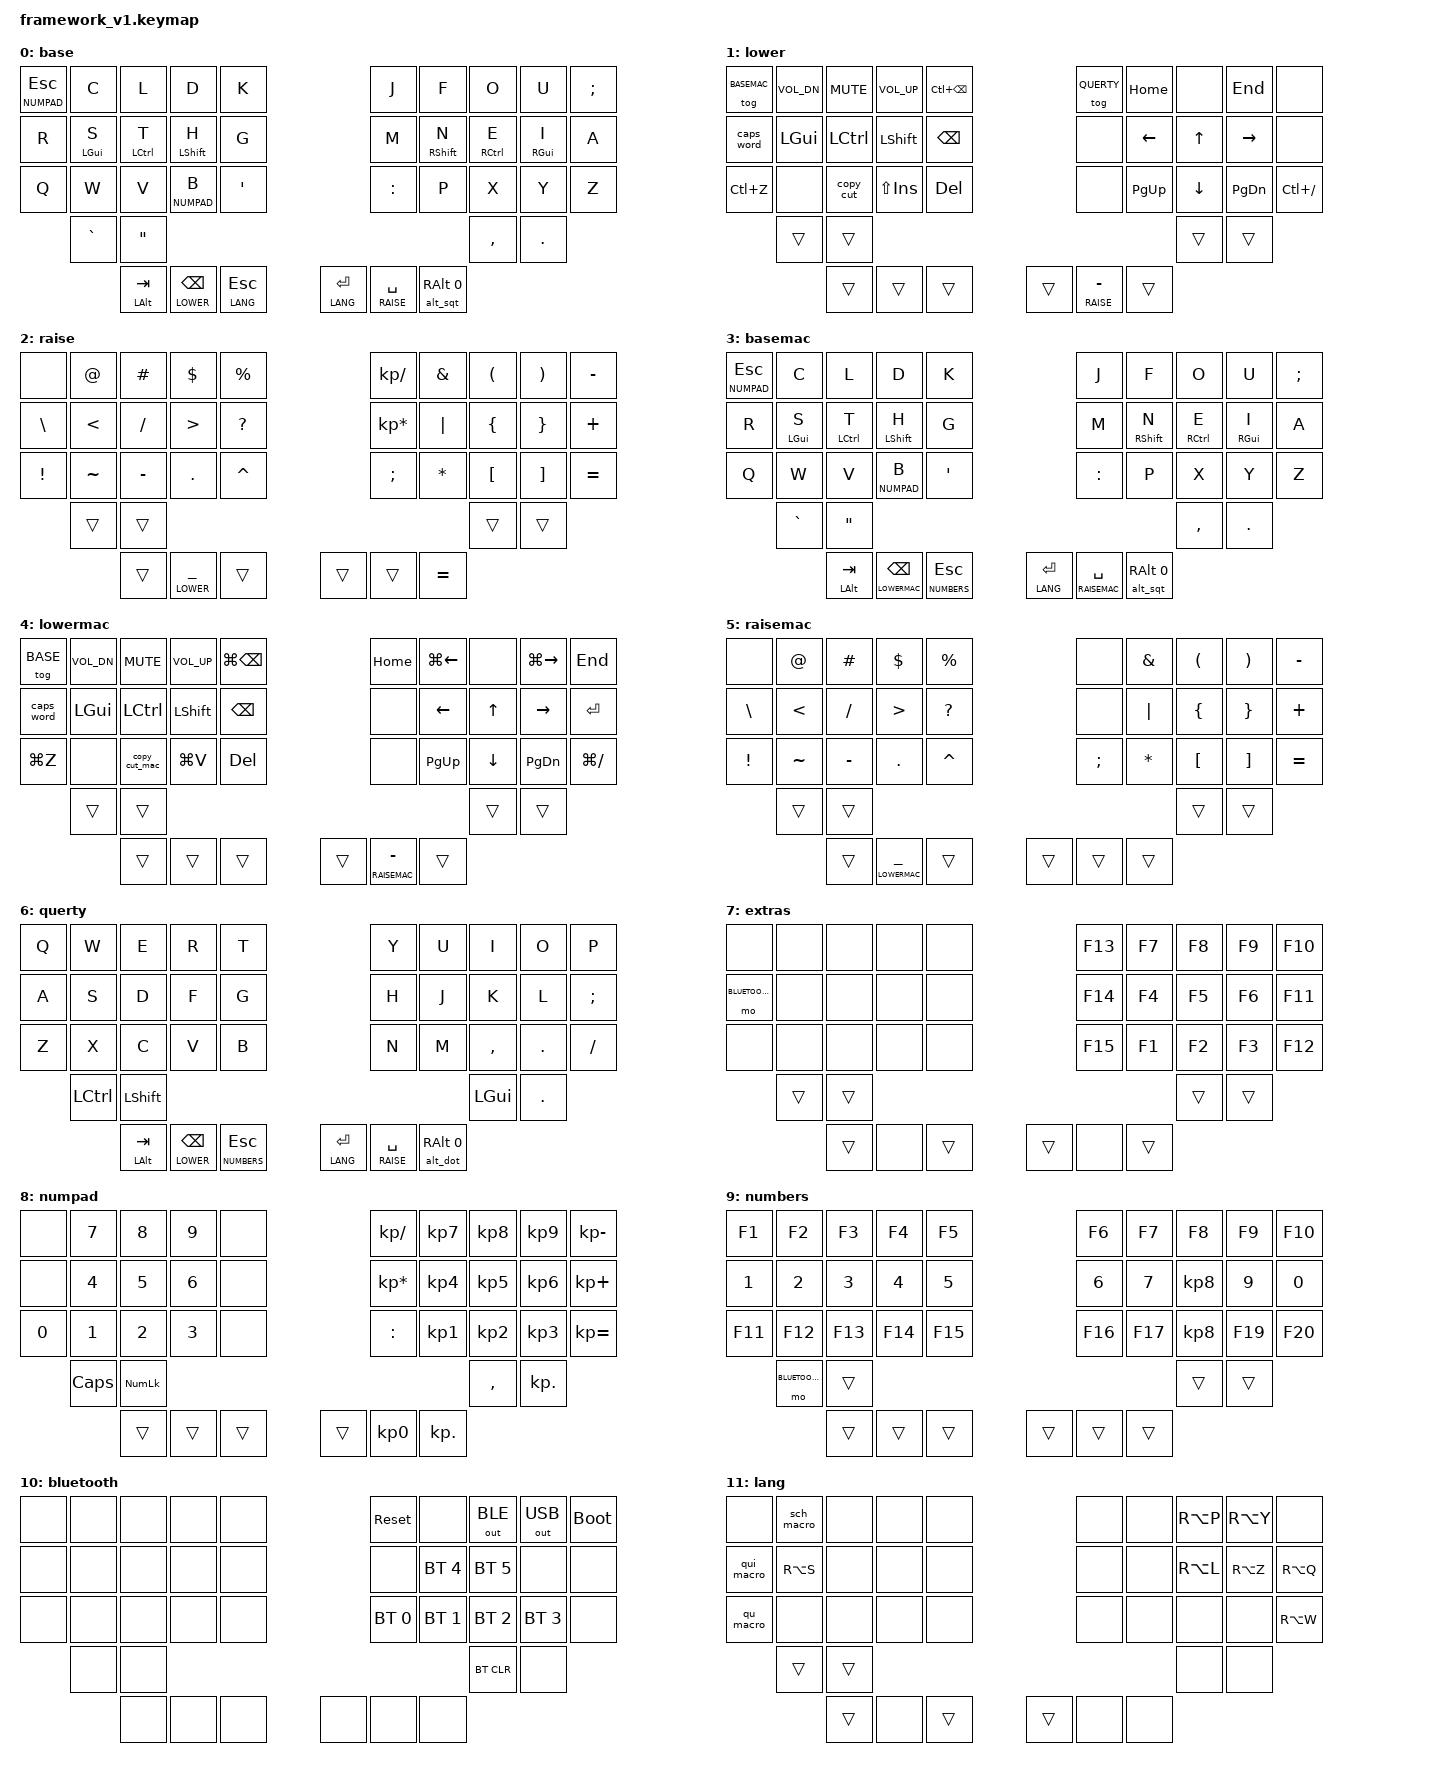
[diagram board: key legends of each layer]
/*
 * Copyright (c) 2021 The ZMK Contributors
 *
 * SPDX-License-Identifier: MIT
 */


#include <behaviors.dtsi>
#include <dt-bindings/zmk/keys.h>
#include <dt-bindings/zmk/bt.h>
#include <dt-bindings/zmk/outputs.h>
#include "zmk-helpers/helper.h"
#include "framework_v1.overlay"
#include "framework_v1_keypos.h"


#define BASE      0
#define LOWER     1
#define RAISE     2

#define BASEMAC   3
#define LOWERMAC  4
#define RAISEMAC  5

#define QUERTY    6
#define EXTRAS    7
#define NUMPAD    8
#define NUMBERS   9
#define BLUETOOTH 10
#define LANG      11

// left-hand keys
#define KEYS_L LN4 LN3 LN2 LN1 LN0 LT4 LT3 LT2 LT1 LT0 LM4 LM3 LM2 LM1 LM0 LB1 LB0
// right-hand keys
#define KEYS_R RN0 RN1 RN2 RN3 RN4 RT0 RT1 RT2 RT3 RT4 RM0 RM1 RM2 RM3 RM4 RB0 RB1
// left-hand thumb keys
#define THUMBS_L LH0 LH1 LH2
// right-hand thumb keys
#define THUMBS_R RH0 RH1 RH2

/ {
    conditional_layers {
        compatible = "zmk,conditional-layers";
        tri_layer {
            if-layers = <LOWER RAISE>;
            then-layer = <NUMBERS>;
        };
        tri_layer_mac {
            if-layers = <LOWERMAC RAISEMAC>;
            then-layer = <NUMBERS>;
        };
    };
};


#define XXX &none
#define ___ &trans




// --------------------------------------------
// ------------------ COMBOS ------------------
// --------------------------------------------
#undef COMBO_TERM
#define COMBO_TERM 15
// ZMK_COMBO(comboLPar, &kp LPAR, LN3 LN2, BASE BASEMAC)
// ZMK_COMBO(comboRPar, &kp RPAR, RN2 RN3, BASE BASEMAC)

// ZMK_COMBO(comboLBrc, &kp LBRC, LT3 LT2, BASE BASEMAC)
// ZMK_COMBO(comboRBrc, &kp RBRC, RT2 RT3, BASE BASEMAC)

// ZMK_COMBO(comboLBkt, &kp LBKT, LM3 LM2, BASE BASEMAC)
// ZMK_COMBO(comboRBkt, &kp RBKT, RM2 RM3, BASE BASEMAC)

// ZMK_COMBO(comboMinus, &kp MINUS, RN1 RN2, BASE BASEMAC)
// ZMK_COMBO(comboPlus, &kp PLUS, RT1 RT2, BASE BASEMAC)
// ZMK_COMBO(comboEqual, &kp EQUAL, RM1 RM2, BASE BASEMAC)

// ZMK_COMBO(comboUnderscore, &kp UNDERSCORE, LN2 LN1, BASE BASEMAC)
// ZMK_COMBO(comboExcl, &kp EXCL, LM2 LM1, BASE BASEMAC)
// ZMK_COMBO(comboAt, &kp AT, LT2 LT1, BASE BASEMAC)

// ZMK_COMBO(comboTab, &kp TAB, RB0 RB1, BASE BASEMAC)

// ZMK_COMBO(comboNumpad, &lt NUMPAD ESC, LB0 LB1, BASE BASEMAC)

// --------------------------------------------
// ------------------- HMR --------------------
// --------------------------------------------
#define MAKE_HRM(NAME, HOLD, TAP, TRIGGER_POS) \
    ZMK_BEHAVIOR(NAME, hold_tap, \
        flavor = "balanced"; \
        tapping-term-ms = <280>; \
        quick-tap-ms = <150>; \
        bindings = <HOLD>, <TAP>; \
        hold-trigger-key-positions = <TRIGGER_POS>; \
        hold-trigger-on-release; \
        hold-while-undecided; \
    )

// left-hand HRMs
MAKE_HRM(hml, &kp, &kp, THUMBS_L THUMBS_R KEYS_R)
// right-hand HRMs
MAKE_HRM(hmr, &kp, &kp, THUMBS_L THUMBS_R KEYS_L)


// --------------------------------------------
// ----------------- TOGGLES ------------------
// --------------------------------------------
&lt {
  tapping-term-ms = <280>;
  quick-tap-ms = <280>; // repeat on tap-into-hold
  flavor = "balanced";
};
  
&mt {
  tapping-term-ms = <280>;
  quick-tap-ms = <280>; // repeat on tap-into-hold
  flavor = "balanced";
};

// --------------------------------------------
// --------------- BEHAVIOURS -----------------
// --------------------------------------------

ZMK_BEHAVIOR(alt_dot, hold_tap,
  flavor = "balanced";
  tapping-term-ms = <200>;
  bindings = <&kp>, <&alt_morph>;
  hold-while-undecided;
)
ZMK_BEHAVIOR(alt_morph, mod_morph,
  bindings = <&kp DOT>, <&kp COMMA>;
  mods = <(MOD_LSFT|MOD_RSFT)>;
)
// ----------------------------
ZMK_BEHAVIOR(alt_sqt, hold_tap,
  flavor = "balanced";
  tapping-term-ms = <200>;
  bindings = <&kp>, <&alt_morph_sqt>;
)

ZMK_BEHAVIOR(alt_morph_sqt, mod_morph,
  bindings = <&kp SQT>, <&kp COMMA>;
  mods = <(MOD_LSFT|MOD_RSFT)>;
)

ZMK_BEHAVIOR(copy_cut, tap_dance,
  tapping-term-ms = <200>;
  bindings = <&kp LC(INS)>, <&kp LC(X)>;
)

ZMK_BEHAVIOR(copy_cut_mac, tap_dance,
  tapping-term-ms = <200>;
  bindings = <&kp LG(C)>, <&kp LG(X)>;
)


// --------------------------------------------
// ----------------- MACROS -------------------
// --------------------------------------------
ZMK_BEHAVIOR(qu_macro, macro,
  wait-ms = <0>;
  tap-ms = <5>;
  bindings = <&kp Q>, <&kp U>;
)
ZMK_BEHAVIOR(qui_macro, macro,
  wait-ms = <0>;
  tap-ms = <5>;
  bindings = <&kp Q>, <&kp U>, <&kp I>;
)
ZMK_BEHAVIOR(sch_macro, macro,
  wait-ms = <0>;
  tap-ms = <5>;
  bindings = <&kp S>, <&kp C>, <&kp H>;
)

// -------------------------------------------------------------------
// Linux
// -------------------------------------------------------------------
// / {
//   keymap {
//       compatible = "zmk,keymap";

//       base_layer {
//           bindings = <  
//           &kp TILDE &kp C     &kp L     &kp D     &kp K                     &kp J     &kp F     &kp O     &kp U     &kp SEMI
//           &kp R     &kp S     &kp T     &kp H     &kp G                     &kp M     &kp N     &kp E     &kp I     &kp A
//           &kp Q     &kp W     &kp V     &kp B     &kp SQT                   &kp COLON &kp P     &kp X     &kp Y     &kp Z
//                     &kp GRAVE &kp DQT                                                           &kp COMMA &kp DOT   
//                               &mt LALT TAB &kp HASH  &kp DOLLAR          &kp LT     &kp SLASH     &kp GT
  
                               
//           >;
//       };
//   };
// };

// This one is the one that counts

ZMK_LAYER(base,
  &lt NUMPAD ESC &kp C           &kp L           &kp D         &kp K                                             &kp J            &kp F         &kp O         &kp U         &kp SEMI
  &kp R          &hml LGUI S     &hml LCTRL T    &hml LSHIFT H &kp G                                             &kp M            &hmr RSHIFT N &hmr RCTRL E  &hmr RGUI I   &kp A
  &kp Q          &kp W           &kp V           &lt NUMPAD B  &kp SQT                                           &kp COLON        &kp P         &kp X         &kp Y         &kp Z
                 &kp GRAVE       &kp DQT                                                                                                        &kp COMMA     &kp DOT
                                 &mt LALT TAB    &lt LOWER BSPC  &lt LANG ESC              &lt LANG RET   &lt RAISE SPC     &alt_sqt RALT 0
)


// wv and cl switch
// ZMK_LAYER(base,
//   &lt NUMPAD ESC &kp L           &kp C           &kp D         &kp K                                             &kp J            &kp F         &kp O         &kp U         &kp SEMI
//   &kp G          &hml LGUI R     &hml LCTRL S    &hml LSHIFT T &kp P                                             &kp M            &hmr RSHIFT N &hmr RCTRL E  &hmr RGUI I   &kp A
//   &kp Q          &kp W           &kp V           &lt NUMPAD B  &kp SQT                                           &kp COLON        &kp H         &kp X         &kp Y         &kp Z
//                  &kp GRAVE       &kp DQT                                                                                                        &kp COMMA     &kp DOT
//                                  &mt LALT TAB    &lt LOWER BSPC  &lt LANG ESC              &lt LANG RET   &lt RAISE SPC     &alt_sqt RALT 0
// )


// no hmr
// ZMK_LAYER(base,
//   &lt NUMPAD ESC &kp C           &kp L           &kp D         &kp K                                              &kp J             &kp F         &kp O         &kp U         &kp SEMI
//   &kp R          &kp S           &kp T           &kp H         &kp G                                              &kp M             &kp N         &kp E         &kp I         &kp A
//   &kp Q          &kp W           &kp V           &kp B         &kp SQT                                            &kp COLON         &kp P         &kp X         &kp Y         &kp Z
//                  &hml LGUI GRAVE &hml LCTRL DQT                                                                                                  &hmr RCTRL COMMA     &hmr RGUI DOT
//                                  &hml LSHIFT TAB    &lt LOWER BSPC  &mt LALT ESC              &lt LANG RET   &lt RAISE SPC     &hmr RSHIFT TAB
// )



ZMK_LAYER(lower,
  &tog BASEMAC  &kp K_VOL_DN    &kp K_MUTE      &kp K_VOL_UP  &kp LC(BSPC)                                      &tog QUERTY      &kp HOME      XXX           &kp END       XXX
  &caps_word    &kp LGUI        &kp LCTRL       &kp LSHIFT    &kp BSPC                                          XXX              &kp LEFT      &kp UP        &kp RIGHT     XXX
  &kp LC(Z)     XXX             &copy_cut       &kp LS(INS)   &kp DEL                                           XXX              &kp PG_UP     &kp DOWN      &kp PG_DN     &kp LC(SLASH)
                ___           ___                                                                                                            ___           ___
                                              ___           ___         ___                  ___        &lt RAISE MINUS         ___
)

ZMK_LAYER(raise,
  XXX           &kp AT          &kp HASH        &kp DOLLAR    &kp PERCENT                                         &kp KP_DIVIDE   &kp AMPS      &kp LPAR      &kp RPAR      &kp MINUS
  &kp BACKSLASH &kp LT          &kp SLASH       &kp GT        &kp QMARK                                           &kp KP_MULTIPLY &kp PIPE      &kp LBRC      &kp RBRC      &kp PLUS
  &kp EXCL      &kp TILDE       &kp MINUS       &kp DOT       &kp CARET                                           &kp SEMI        &kp ASTERISK  &kp LBKT      &kp RBKT      &kp EQUAL
           ___           ___                                                                                                         ___           ___
                                      ___    &lt LOWER UNDERSCORE     ___                    ___         ___         &kp EQUAL
)

// -------------------------------------------------------------------
// Linux end
// -------------------------------------------------------------------

// -------------------------------------------------------------------
// Mac start
// -------------------------------------------------------------------

ZMK_LAYER(basemac,
  &lt NUMPAD ESC  &kp C          &kp L           &kp D         &kp K                                                        &kp J            &kp F         &kp O         &kp U         &kp SEMI
  &kp R           &hml LGUI S    &hml LCTRL T    &hml LSHIFT H &kp G                                                        &kp M            &hmr RSHIFT N &hmr RCTRL E  &hmr RGUI I   &kp A
  &kp Q           &kp W          &kp V           &lt NUMPAD B  &kp SQT                                                      &kp COLON        &kp P         &kp X         &kp Y         &kp Z
                  &kp GRAVE      &kp DQT                                                                                                        &kp COMMA     &kp DOT
                                               &mt LALT TAB  &lt LOWERMAC BSPC  &lt NUMBERS ESC     &lt LANG RET   &lt RAISEMAC SPC &alt_sqt RALT 0

)

ZMK_LAYER(lowermac,
  &tog BASE     &kp K_VOL_DN   &kp K_MUTE      &kp K_VOL_UP  &kp LG(BSPC)                                      &kp HOME         &kp LG(LEFT)  XXX           &kp LG(RIGHT) &kp END
  &caps_word    &kp LGUI       &kp LCTRL       &kp LSHIFT    &kp BSPC                                          XXX              &kp LEFT      &kp UP        &kp RIGHT     &kp RETURN
  &kp LG(Z)     XXX            &copy_cut_mac   &kp LG(V)     &kp DEL                                           XXX              &kp PG_UP     &kp DOWN      &kp PG_DN     &kp LG(SLASH)
                    ___           ___                                                                                                            ___           ___
                                                  ___           ___         ___                     ___        &lt RAISEMAC MINUS         ___
)

ZMK_LAYER(raisemac,
  XXX           &kp AT        &kp HASH      &kp DOLLAR    &kp PERCENT                                         XXX           &kp AMPS      &kp LPAR      &kp RPAR      &kp MINUS
  &kp BACKSLASH &kp LT        &kp SLASH     &kp GT        &kp QMARK                                           XXX           &kp PIPE      &kp LBRC      &kp RBRC      &kp PLUS
  &kp EXCL      &kp TILDE     &kp MINUS     &kp DOT       &kp CARET                                           &kp SEMI      &kp ASTERISK  &kp LBKT      &kp RBKT      &kp EQUAL     
               ___           ___                                                                                                         ___           ___
                                          ___    &lt LOWERMAC UNDERSCORE     ___                    ___         ___         ___
)

// -------------------------------------------------------------------
// Mac end
// -------------------------------------------------------------------

ZMK_LAYER(querty,
  &kp Q         &kp W           &kp E           &kp R         &kp T                                                          &kp Y            &kp U         &kp I         &kp O         &kp P
  &kp A         &kp S           &kp D           &kp F         &kp G                                                          &kp H            &kp J         &kp K         &kp L         &kp SEMI
  &kp Z         &kp X           &kp C           &kp V         &kp B                                                          &kp N            &kp M         &kp COMMA     &kp DOT       &kp SLASH
                                &kp LCTRL      &kp LSHIFT                                                                                                   &kp LGUI      &kp DOT
                                               &mt LALT TAB  &lt LOWER BSPC  &lt NUMBERS ESC                   &lt LANG RET  &lt RAISE SPC &alt_dot RALT 0
)

ZMK_LAYER(extras,
  XXX           XXX           XXX           XXX           XXX                                             &kp F13       &kp F7        &kp F8        &kp F9        &kp F10
  &mo BLUETOOTH XXX           XXX           XXX           XXX                                             &kp F14       &kp F4        &kp F5        &kp F6        &kp F11
  XXX           XXX           XXX           XXX           XXX                                             &kp F15       &kp F1        &kp F2        &kp F3        &kp F12
                ___           ___                                                                                                     ___           ___
                                              ___         XXX         ___                       ___         XXX         ___
)

ZMK_LAYER(numpad,
  XXX           &kp NUMBER_7  &kp NUMBER_8  &kp NUMBER_9  XXX                                             &kp KP_DIVIDE   &kp KP_N7   &kp KP_N8   &kp KP_N9   &kp KP_MINUS
  XXX           &kp NUMBER_4  &kp NUMBER_5  &kp NUMBER_6  XXX                                             &kp KP_MULTIPLY &kp KP_N4   &kp KP_N5   &kp KP_N6   &kp KP_PLUS
  &kp NUMBER_0  &kp NUMBER_1  &kp NUMBER_2  &kp NUMBER_3  XXX                                             &kp COLON       &kp KP_N1   &kp KP_N2   &kp KP_N3   &kp KP_EQUAL
                    &kp CAPSLOCK  &kp KP_NUMLOCK                                                                                      &kp COMMA   &kp KP_DOT
                                                  ___         ___         ___                   ___         &kp KP_N0     &kp KP_DOT
)

ZMK_LAYER(numbers,
  &kp F1        &kp F2        &kp F3        &kp F4        &kp F5                                          &kp F6          &kp F7        &kp F8      &kp F9        &kp F10
  &kp NUMBER_1  &kp NUMBER_2  &kp NUMBER_3  &kp NUMBER_4  &kp NUMBER_5                                    &kp NUMBER_6    &kp NUMBER_7  &kp KP_N8   &kp NUMBER_9  &kp NUMBER_0
  &kp F11       &kp F12       &kp F13       &kp F14       &kp F15                                         &kp F16         &kp F17       &kp KP_N8   &kp F19       &kp F20
                &mo BLUETOOTH ___                                                                                                       ___         ___
                                                  ___         ___         ___                   ___         ___           ___
)

ZMK_LAYER(bluetooth,
  XXX           XXX           XXX           XXX           XXX                                             &sys_reset    XXX           &out OUT_BLE  &out OUT_USB  &bootloader
  XXX           XXX           XXX           XXX           XXX                                             XXX           &bt BT_SEL 4  &bt BT_SEL 5  XXX           XXX
  XXX           XXX           XXX           XXX           XXX                                             &bt BT_SEL 0  &bt BT_SEL 1  &bt BT_SEL 2  &bt BT_SEL 3  XXX
                    XXX           XXX                                                                                                 &bt BT_CLR    XXX
                                                  XXX         XXX         XXX                   XXX         XXX         XXX
)

ZMK_LAYER(lang,
  XXX           &sch_macro    XXX           XXX           XXX                                             XXX           XXX           &kp RA(P)   &kp RA(Y)     XXX
  &qui_macro    &kp RA(S)     XXX           XXX           XXX                                             XXX           XXX           &kp RA(L)   &kp RA(Z)     &kp RA(Q)
  &qu_macro     XXX           XXX           XXX           XXX                                             XXX           XXX           XXX         XXX           &kp RA(W)
                    ___           ___                                                                                                 XXX         XXX
                                                  ___         XXX         ___                   ___         XXX           XXX
)

